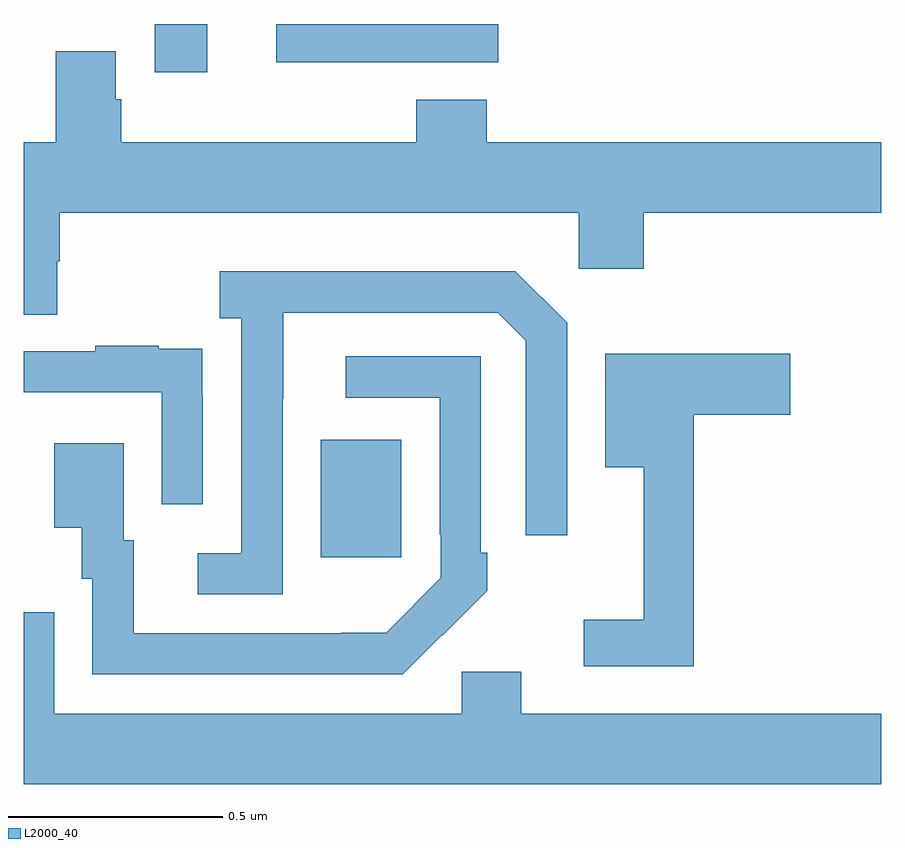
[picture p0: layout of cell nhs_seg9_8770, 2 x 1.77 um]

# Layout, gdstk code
import gdstk
lib = gdstk.Library(unit=1e-6, precision=1e-09)
def R(c, l, rs):  # rectangles x0, y0, x1, y1
    for r in rs: c.add(gdstk.rectangle(r[:2], r[2:], *l))
def P(c, l, *ps):  # polygons
    for p in ps: c.add(gdstk.Polygon(p, *l))
L2000_40 = (2000, 40)

nhs_seg9_8770 = lib.new_cell('nhs_seg9_8770')
R(nhs_seg9_8770, L2000_40, [(221.693,1222.257,221.881,1222.531), (221.306,1223.388,221.428,1223.5), (221.589,1223.411,222.107,1223.5)])
P(nhs_seg9_8770, L2000_40, [(221.079,1222.947),(221.084,1222.947),(221.084,1223.06),(222.294,1223.06),(222.294,1222.929),(222.446,1222.929),(222.446,1223.06),(223,1223.06),(223,1223.224),(222.08,1223.224),(222.08,1223.323),(221.915,1223.323),(221.915,1223.224),(221.228,1223.224),(221.228,1223.325),(221.215,1223.325),(221.215,1223.436),(221.075,1223.436),(221.075,1223.224),(221,1223.224),(221,1222.822),(221.079,1222.822)],
  [(221.604,1222.627),(221.605,1222.627),(221.605,1222.827),(222.105,1222.827),(222.171,1222.761),(222.171,1222.308),(222.267,1222.308),(222.267,1222.803),(222.146,1222.924),(221.457,1222.924),(221.457,1222.814),(221.508,1222.814),(221.508,1222.266),(221.406,1222.266),(221.406,1222.17),(221.604,1222.17)],
  [(221.418,1222.634),(221.417,1222.634),(221.417,1222.743),(221.315,1222.743),(221.315,1222.75),(221.167,1222.75),(221.167,1222.737),(221,1222.737),(221,1222.641),(221.322,1222.641),(221.322,1222.38),(221.418,1222.38)],
  [(222.563,1222.589),(222.787,1222.589),(222.787,1222.731),(222.356,1222.731),(222.356,1222.466),(222.446,1222.466),(222.446,1222.111),(222.306,1222.111),(222.306,1222.002),(222.563,1222.002)],
  [(221.975,1222.075),(221.976,1222.074),(222.081,1222.179),(222.081,1222.267),(222.066,1222.267),(222.066,1222.725),(221.751,1222.725),(221.751,1222.629),(221.97,1222.629),(221.97,1222.309),(221.973,1222.309),(221.973,1222.209),(221.845,1222.081),(221.741,1222.081),(221.741,1222.08),(221.257,1222.08),(221.257,1222.296),(221.233,1222.296),(221.233,1222.522),(221.072,1222.522),(221.072,1222.325),(221.135,1222.325),(221.135,1222.206),(221.16,1222.206),(221.16,1221.984),(221.884,1221.984)],
  [(223,1221.892),(222.16,1221.892),(222.16,1221.99),(222.021,1221.99),(222.021,1221.892),(221.071,1221.892),(221.071,1222.128),(221,1222.128),(221,1221.728),(223,1221.728)])

lib.write_gds('nhs_seg9_8770.gds')
